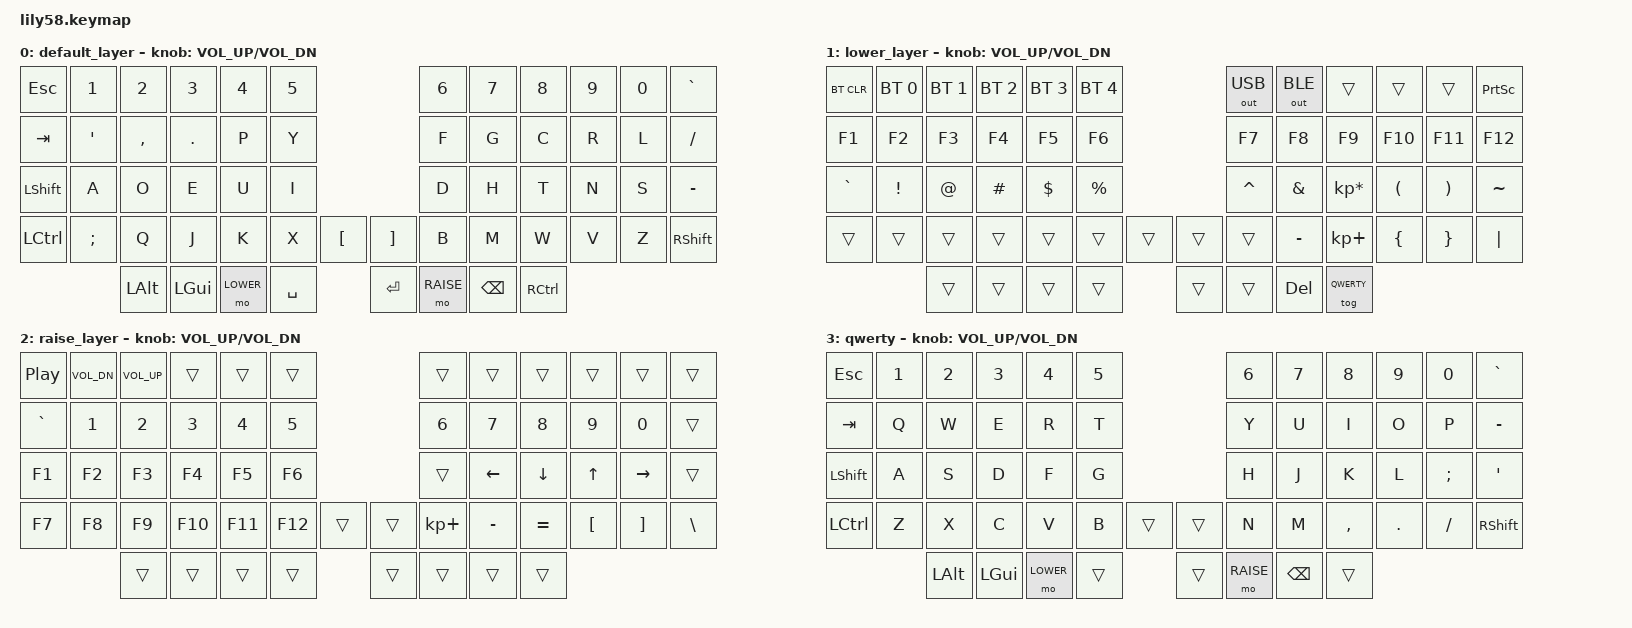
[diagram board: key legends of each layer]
/*
 * Copyright (c) 2020 The ZMK Contributors
 *
 * SPDX-License-Identifier: MIT
 */

#include <behaviors.dtsi>
#include <dt-bindings/zmk/keys.h>
#include <dt-bindings/zmk/bt.h>
#include <dt-bindings/zmk/ext_power.h>
#include <dt-bindings/zmk/outputs.h>

#define DEFAULT 0
#define LOWER   1
#define RAISE   2
#define QWERTY  3

/*
	LOWER and ENTER should toggle qwerty mode.
*/

/ {
	keymap {
		compatible = "zmk,keymap";

		default_layer {
// dvorak
// ------------------------------------------------------------------------------------------------------------
// |  ESC  |  1  |  2  |  3   |  4   |  5   |                   |  6   |  7    |  8    |  9   |   0   |   `   |
// |  TAB  |  '  |  ,  |  .   |  P   |  Y   |                   |  F   |  G    |  C    |  R   |   L   |   /   |
// | SHIFT |  A  |  O  |  E   |  U   |  I   |                   |  D   |  H    |  T    |  N   |   S   |   -   |
// |  CTRL |  ;  |  Q  |  J   |  K   |  X   |   "["  |  |  "]"  |  B   |  M    |  W    |  V   |   Z   | SHIFT |
//                     | ALT  | GUI  | LOWER|  SPACE |  | ENTER | RAISE| BSPC  | RCTL |
			bindings = <
&kp ESC   &kp N1   &kp N2    &kp N3  &kp N4 &kp N5                     &kp N6    &kp N7 &kp N8 &kp N9  &kp N0 &kp GRAVE
&kp TAB   &kp SQT  &kp COMMA &kp DOT &kp P  &kp Y                      &kp F     &kp G  &kp C  &kp R   &kp L  &kp FSLH
&kp LSHFT &kp A    &kp O     &kp E   &kp U  &kp I                      &kp D     &kp H  &kp T  &kp N   &kp S  &kp MINUS
&kp LCTRL &kp SEMI &kp Q     &kp J   &kp K  &kp X   &kp LBKT  &kp RBKT &kp B     &kp M  &kp W  &kp V   &kp Z  &kp RSHFT
                        &kp LALT &kp LGUI &mo LOWER &kp SPACE &kp RET  &mo RAISE &kp BSPC &kp RCTL
			>;

			sensor-bindings = <&inc_dec_kp C_VOL_UP C_VOL_DN>;
		};

		lower_layer {
// ------------------------------------------------------------------------------------------------------------
// | BTCLR | BT1 | BT2 |  BT3 |  BT4 |  BT5 |                   | USB  | BLE   |       |      |       | PSCRN |
// |  F1   |  F2 |  F3 |  F4  |  F5  |  F6  |                   |  F7  |  F8   |  F9   |  F10 |  F11  |  F12  |
// |   `   |  !  |  @  |  #   |  $   |  %   |                   |  ^   |  &    |  *    |  (   |   )   |   ~   |
// |       |     |     |      |      |      |        |  |       |      |  _    |  +    |  {   |   }   |  "|"  |
//                     |      |      |      |        |  |       |      |  DEL  | QWERTY|
			bindings = <
&bt BT_CLR &bt BT_SEL 0 &bt BT_SEL 1 &bt BT_SEL 2 &bt BT_SEL 3 &bt BT_SEL 4                    &out OUT_USB &out OUT_BLE &trans          &trans    &trans    &kp PSCRN
&kp F1     &kp F2       &kp F3       &kp F4       &kp F5       &kp F6                          &kp F7       &kp F8       &kp F9          &kp F10   &kp F11   &kp F12
&kp GRAVE  &kp EXCL     &kp AT       &kp HASH     &kp DOLLAR   &kp PRCNT                       &kp CARET    &kp AMPS     &kp KP_MULTIPLY &kp LPAR  &kp RPAR  &kp TILDE
&trans     &trans       &trans       &trans       &trans       &trans    &trans    &trans      &trans       &kp MINUS    &kp KP_PLUS     &kp LBRC  &kp RBRC  &kp PIPE
                                     &trans       &trans       &trans    &trans    &trans      &trans       &kp DEL      &tog QWERTY
			>;

			sensor-bindings = <&inc_dec_kp C_VOL_UP C_VOL_DN>;
		};

		raise_layer {
// ------------------------------------------------------------------------------------------------------------
// | play  |volUp|volDn|      |      |      |                   |      |       |       |      |       |       |
// |   `   |  1  |  2  |  3   |  4   |  5   |                   |  6   |   7   |   8   |  9   |   0   |       |
// |   F1  |  F2 |  F3 |  F4  |  F5  |  F6  |                   |      |   <-  |   v   |  ^   |  ->   |       |
// |   F7  |  F8 |  F9 |  F10 |  F11 |  F12 |        |  |       |  +   |   -   |   =   |  [   |   ]   |   \   |
//                     |      |      |      |        |  |       |      |       |       |
			bindings = <
&kp C_PP  &kp C_VOL_DN &kp C_VOL_UP &trans  &trans  &trans                       &trans      &trans    &trans    &trans   &trans    &trans
&kp GRAVE &kp N1       &kp N2       &kp N3  &kp N4  &kp N5                       &kp N6      &kp N7    &kp N8    &kp N9   &kp N0    &trans
&kp F1    &kp F2       &kp F3       &kp F4  &kp F5  &kp F6                       &trans      &kp LEFT  &kp DOWN  &kp UP   &kp RIGHT &trans
&kp F7    &kp F8       &kp F9       &kp F10 &kp F11 &kp F12   &trans   &trans    &kp KP_PLUS &kp MINUS &kp EQUAL &kp LBKT &kp RBKT  &kp BSLH
                       &trans       &trans  &trans  &trans    &trans   &trans    &trans      &trans
			>;

			sensor-bindings = <&inc_dec_kp C_VOL_UP C_VOL_DN>;
		};

		qwerty {
// default qwerty map
// ------------------------------------------------------------------------------------------------------------
// |  ESC  |  1  |  2  |  3   |  4   |  5   |                   |  6   |  7    |  8    |  9   |   0   |   `   |
// |  TAB  |  Q  |  W  |  E   |  R   |  T   |                   |  Y   |  U    |  I    |  O   |   P   |   -   |
// |  CTRL |  A  |  S  |  D   |  F   |  G   |                   |  H   |  J    |  K    |  L   |   ;   |   '   |
// | SHIFT |  Z  |  X  |  C   |  V   |  B   |   "["  |  |  "]"  |  N   |  M    |  ,    |  .   |   /   | SHIFT |
//                     | ALT  | GUI  | LOWER|  SPACE |  | ENTER | RAISE| BSPC  | GUI   |
			bindings = <
&kp ESC   &kp N1 &kp N2 &kp N3   &kp N4   &kp N5                        &kp N6    &kp N7   &kp N8    &kp N9  &kp N0   &kp GRAVE
&kp TAB   &kp Q  &kp W  &kp E    &kp R    &kp T                         &kp Y     &kp U    &kp I     &kp O   &kp P    &kp MINUS
&kp LSHFT &kp A  &kp S  &kp D    &kp F    &kp G                         &kp H     &kp J    &kp K     &kp L   &kp SEMI &kp SQT
&kp LCTRL &kp Z  &kp X  &kp C    &kp V    &kp B     &trans     &trans   &kp N     &kp M    &kp COMMA &kp DOT &kp FSLH &kp RSHFT
                        &kp LALT &kp LGUI &mo LOWER &trans     &trans   &mo RAISE &kp BSPC &trans
			>;

			sensor-bindings = <&inc_dec_kp C_VOL_UP C_VOL_DN>;
		};
	};
};
